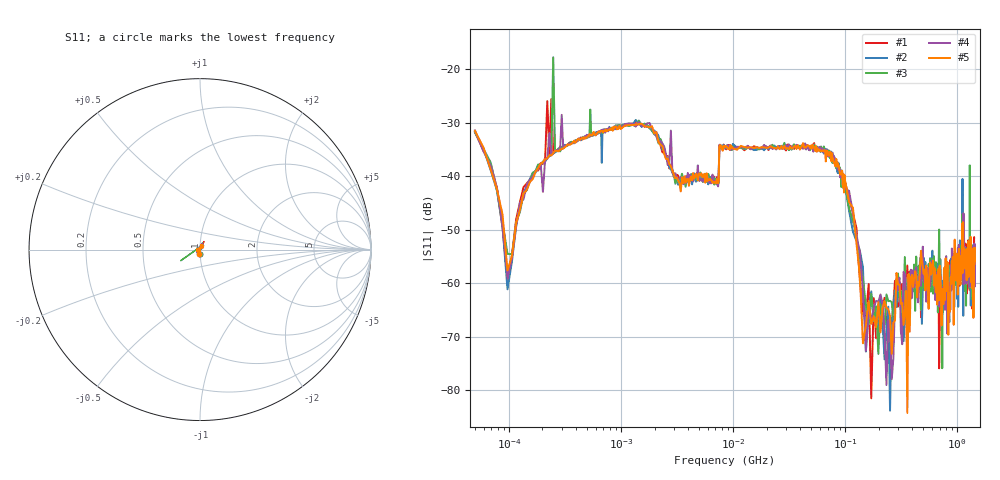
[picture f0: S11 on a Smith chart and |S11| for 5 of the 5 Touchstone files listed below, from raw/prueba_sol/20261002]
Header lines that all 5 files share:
# HZ S RI R 50
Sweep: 50 kHz to 1.45 GHz
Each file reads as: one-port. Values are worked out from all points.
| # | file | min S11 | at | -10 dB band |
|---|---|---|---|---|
| 1 | 20261002T081459Z_sol_carga_r01.s1p | -81.5 dB | 172 MHz | over 1.45 GHz wide |
| 2 | 20261002T081522Z_sol_carga_r02.s1p | -83.8 dB | 253 MHz | over 1.45 GHz wide |
| 3 | 20261002T081547Z_sol_carga_r03.s1p | -75.9 dB | 739 MHz | over 1.45 GHz wide |
| 4 | 20261002T081612Z_sol_carga_r04.s1p | -79.0 dB | 235 MHz | over 1.45 GHz wide |
| 5 | 20261002T081637Z_sol_carga_r05.s1p | -84.3 dB | 361 MHz | over 1.45 GHz wide |
